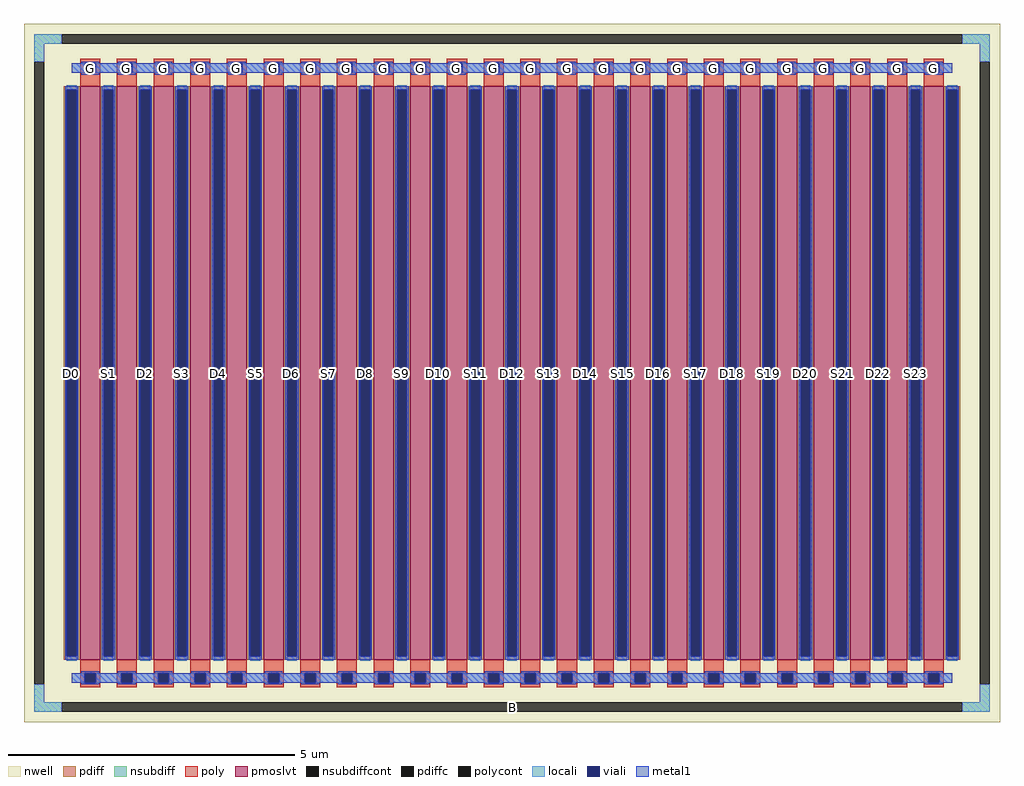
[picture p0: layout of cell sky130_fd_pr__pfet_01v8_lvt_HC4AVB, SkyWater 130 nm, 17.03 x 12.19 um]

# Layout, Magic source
magic
tech sky130A
magscale 1 2
<< nwell >>
rect -1703 -1219 1703 1219
<< pmoslvt >>
rect -1507 -1000 -1437 1000
rect -1379 -1000 -1309 1000
rect -1251 -1000 -1181 1000
rect -1123 -1000 -1053 1000
rect -995 -1000 -925 1000
rect -867 -1000 -797 1000
rect -739 -1000 -669 1000
rect -611 -1000 -541 1000
rect -483 -1000 -413 1000
rect -355 -1000 -285 1000
rect -227 -1000 -157 1000
rect -99 -1000 -29 1000
rect 29 -1000 99 1000
rect 157 -1000 227 1000
rect 285 -1000 355 1000
rect 413 -1000 483 1000
rect 541 -1000 611 1000
rect 669 -1000 739 1000
rect 797 -1000 867 1000
rect 925 -1000 995 1000
rect 1053 -1000 1123 1000
rect 1181 -1000 1251 1000
rect 1309 -1000 1379 1000
rect 1437 -1000 1507 1000
<< pdiff >>
rect -1565 988 -1507 1000
rect -1565 -988 -1553 988
rect -1519 -988 -1507 988
rect -1565 -1000 -1507 -988
rect -1437 988 -1379 1000
rect -1437 -988 -1425 988
rect -1391 -988 -1379 988
rect -1437 -1000 -1379 -988
rect -1309 988 -1251 1000
rect -1309 -988 -1297 988
rect -1263 -988 -1251 988
rect -1309 -1000 -1251 -988
rect -1181 988 -1123 1000
rect -1181 -988 -1169 988
rect -1135 -988 -1123 988
rect -1181 -1000 -1123 -988
rect -1053 988 -995 1000
rect -1053 -988 -1041 988
rect -1007 -988 -995 988
rect -1053 -1000 -995 -988
rect -925 988 -867 1000
rect -925 -988 -913 988
rect -879 -988 -867 988
rect -925 -1000 -867 -988
rect -797 988 -739 1000
rect -797 -988 -785 988
rect -751 -988 -739 988
rect -797 -1000 -739 -988
rect -669 988 -611 1000
rect -669 -988 -657 988
rect -623 -988 -611 988
rect -669 -1000 -611 -988
rect -541 988 -483 1000
rect -541 -988 -529 988
rect -495 -988 -483 988
rect -541 -1000 -483 -988
rect -413 988 -355 1000
rect -413 -988 -401 988
rect -367 -988 -355 988
rect -413 -1000 -355 -988
rect -285 988 -227 1000
rect -285 -988 -273 988
rect -239 -988 -227 988
rect -285 -1000 -227 -988
rect -157 988 -99 1000
rect -157 -988 -145 988
rect -111 -988 -99 988
rect -157 -1000 -99 -988
rect -29 988 29 1000
rect -29 -988 -17 988
rect 17 -988 29 988
rect -29 -1000 29 -988
rect 99 988 157 1000
rect 99 -988 111 988
rect 145 -988 157 988
rect 99 -1000 157 -988
rect 227 988 285 1000
rect 227 -988 239 988
rect 273 -988 285 988
rect 227 -1000 285 -988
rect 355 988 413 1000
rect 355 -988 367 988
rect 401 -988 413 988
rect 355 -1000 413 -988
rect 483 988 541 1000
rect 483 -988 495 988
rect 529 -988 541 988
rect 483 -1000 541 -988
rect 611 988 669 1000
rect 611 -988 623 988
rect 657 -988 669 988
rect 611 -1000 669 -988
rect 739 988 797 1000
rect 739 -988 751 988
rect 785 -988 797 988
rect 739 -1000 797 -988
rect 867 988 925 1000
rect 867 -988 879 988
rect 913 -988 925 988
rect 867 -1000 925 -988
rect 995 988 1053 1000
rect 995 -988 1007 988
rect 1041 -988 1053 988
rect 995 -1000 1053 -988
rect 1123 988 1181 1000
rect 1123 -988 1135 988
rect 1169 -988 1181 988
rect 1123 -1000 1181 -988
rect 1251 988 1309 1000
rect 1251 -988 1263 988
rect 1297 -988 1309 988
rect 1251 -1000 1309 -988
rect 1379 988 1437 1000
rect 1379 -988 1391 988
rect 1425 -988 1437 988
rect 1379 -1000 1437 -988
rect 1507 988 1565 1000
rect 1507 -988 1519 988
rect 1553 -988 1565 988
rect 1507 -1000 1565 -988
<< pdiffc >>
rect -1553 -988 -1519 988
rect -1425 -988 -1391 988
rect -1297 -988 -1263 988
rect -1169 -988 -1135 988
rect -1041 -988 -1007 988
rect -913 -988 -879 988
rect -785 -988 -751 988
rect -657 -988 -623 988
rect -529 -988 -495 988
rect -401 -988 -367 988
rect -273 -988 -239 988
rect -145 -988 -111 988
rect -17 -988 17 988
rect 111 -988 145 988
rect 239 -988 273 988
rect 367 -988 401 988
rect 495 -988 529 988
rect 623 -988 657 988
rect 751 -988 785 988
rect 879 -988 913 988
rect 1007 -988 1041 988
rect 1135 -988 1169 988
rect 1263 -988 1297 988
rect 1391 -988 1425 988
rect 1519 -988 1553 988
<< nsubdiff >>
rect -1667 1149 -1571 1183
rect 1571 1149 1667 1183
rect -1667 1087 -1633 1149
rect 1633 1087 1667 1149
rect -1667 -1149 -1633 -1087
rect 1633 -1149 1667 -1087
rect -1667 -1183 -1571 -1149
rect 1571 -1183 1667 -1149
<< nsubdiffcont >>
rect -1571 1149 1571 1183
rect -1667 -1087 -1633 1087
rect 1633 -1087 1667 1087
rect -1571 -1183 1571 -1149
<< poly >>
rect -1507 1081 -1437 1097
rect -1507 1047 -1491 1081
rect -1453 1047 -1437 1081
rect -1507 1000 -1437 1047
rect -1379 1081 -1309 1097
rect -1379 1047 -1363 1081
rect -1325 1047 -1309 1081
rect -1379 1000 -1309 1047
rect -1251 1081 -1181 1097
rect -1251 1047 -1235 1081
rect -1197 1047 -1181 1081
rect -1251 1000 -1181 1047
rect -1123 1081 -1053 1097
rect -1123 1047 -1107 1081
rect -1069 1047 -1053 1081
rect -1123 1000 -1053 1047
rect -995 1081 -925 1097
rect -995 1047 -979 1081
rect -941 1047 -925 1081
rect -995 1000 -925 1047
rect -867 1081 -797 1097
rect -867 1047 -851 1081
rect -813 1047 -797 1081
rect -867 1000 -797 1047
rect -739 1081 -669 1097
rect -739 1047 -723 1081
rect -685 1047 -669 1081
rect -739 1000 -669 1047
rect -611 1081 -541 1097
rect -611 1047 -595 1081
rect -557 1047 -541 1081
rect -611 1000 -541 1047
rect -483 1081 -413 1097
rect -483 1047 -467 1081
rect -429 1047 -413 1081
rect -483 1000 -413 1047
rect -355 1081 -285 1097
rect -355 1047 -339 1081
rect -301 1047 -285 1081
rect -355 1000 -285 1047
rect -227 1081 -157 1097
rect -227 1047 -211 1081
rect -173 1047 -157 1081
rect -227 1000 -157 1047
rect -99 1081 -29 1097
rect -99 1047 -83 1081
rect -45 1047 -29 1081
rect -99 1000 -29 1047
rect 29 1081 99 1097
rect 29 1047 45 1081
rect 83 1047 99 1081
rect 29 1000 99 1047
rect 157 1081 227 1097
rect 157 1047 173 1081
rect 211 1047 227 1081
rect 157 1000 227 1047
rect 285 1081 355 1097
rect 285 1047 301 1081
rect 339 1047 355 1081
rect 285 1000 355 1047
rect 413 1081 483 1097
rect 413 1047 429 1081
rect 467 1047 483 1081
rect 413 1000 483 1047
rect 541 1081 611 1097
rect 541 1047 557 1081
rect 595 1047 611 1081
rect 541 1000 611 1047
rect 669 1081 739 1097
rect 669 1047 685 1081
rect 723 1047 739 1081
rect 669 1000 739 1047
rect 797 1081 867 1097
rect 797 1047 813 1081
rect 851 1047 867 1081
rect 797 1000 867 1047
rect 925 1081 995 1097
rect 925 1047 941 1081
rect 979 1047 995 1081
rect 925 1000 995 1047
rect 1053 1081 1123 1097
rect 1053 1047 1069 1081
rect 1107 1047 1123 1081
rect 1053 1000 1123 1047
rect 1181 1081 1251 1097
rect 1181 1047 1197 1081
rect 1235 1047 1251 1081
rect 1181 1000 1251 1047
rect 1309 1081 1379 1097
rect 1309 1047 1325 1081
rect 1363 1047 1379 1081
rect 1309 1000 1379 1047
rect 1437 1081 1507 1097
rect 1437 1047 1453 1081
rect 1491 1047 1507 1081
rect 1437 1000 1507 1047
rect -1507 -1047 -1437 -1000
rect -1507 -1081 -1491 -1047
rect -1453 -1081 -1437 -1047
rect -1507 -1097 -1437 -1081
rect -1379 -1047 -1309 -1000
rect -1379 -1081 -1363 -1047
rect -1325 -1081 -1309 -1047
rect -1379 -1097 -1309 -1081
rect -1251 -1047 -1181 -1000
rect -1251 -1081 -1235 -1047
rect -1197 -1081 -1181 -1047
rect -1251 -1097 -1181 -1081
rect -1123 -1047 -1053 -1000
rect -1123 -1081 -1107 -1047
rect -1069 -1081 -1053 -1047
rect -1123 -1097 -1053 -1081
rect -995 -1047 -925 -1000
rect -995 -1081 -979 -1047
rect -941 -1081 -925 -1047
rect -995 -1097 -925 -1081
rect -867 -1047 -797 -1000
rect -867 -1081 -851 -1047
rect -813 -1081 -797 -1047
rect -867 -1097 -797 -1081
rect -739 -1047 -669 -1000
rect -739 -1081 -723 -1047
rect -685 -1081 -669 -1047
rect -739 -1097 -669 -1081
rect -611 -1047 -541 -1000
rect -611 -1081 -595 -1047
rect -557 -1081 -541 -1047
rect -611 -1097 -541 -1081
rect -483 -1047 -413 -1000
rect -483 -1081 -467 -1047
rect -429 -1081 -413 -1047
rect -483 -1097 -413 -1081
rect -355 -1047 -285 -1000
rect -355 -1081 -339 -1047
rect -301 -1081 -285 -1047
rect -355 -1097 -285 -1081
rect -227 -1047 -157 -1000
rect -227 -1081 -211 -1047
rect -173 -1081 -157 -1047
rect -227 -1097 -157 -1081
rect -99 -1047 -29 -1000
rect -99 -1081 -83 -1047
rect -45 -1081 -29 -1047
rect -99 -1097 -29 -1081
rect 29 -1047 99 -1000
rect 29 -1081 45 -1047
rect 83 -1081 99 -1047
rect 29 -1097 99 -1081
rect 157 -1047 227 -1000
rect 157 -1081 173 -1047
rect 211 -1081 227 -1047
rect 157 -1097 227 -1081
rect 285 -1047 355 -1000
rect 285 -1081 301 -1047
rect 339 -1081 355 -1047
rect 285 -1097 355 -1081
rect 413 -1047 483 -1000
rect 413 -1081 429 -1047
rect 467 -1081 483 -1047
rect 413 -1097 483 -1081
rect 541 -1047 611 -1000
rect 541 -1081 557 -1047
rect 595 -1081 611 -1047
rect 541 -1097 611 -1081
rect 669 -1047 739 -1000
rect 669 -1081 685 -1047
rect 723 -1081 739 -1047
rect 669 -1097 739 -1081
rect 797 -1047 867 -1000
rect 797 -1081 813 -1047
rect 851 -1081 867 -1047
rect 797 -1097 867 -1081
rect 925 -1047 995 -1000
rect 925 -1081 941 -1047
rect 979 -1081 995 -1047
rect 925 -1097 995 -1081
rect 1053 -1047 1123 -1000
rect 1053 -1081 1069 -1047
rect 1107 -1081 1123 -1047
rect 1053 -1097 1123 -1081
rect 1181 -1047 1251 -1000
rect 1181 -1081 1197 -1047
rect 1235 -1081 1251 -1047
rect 1181 -1097 1251 -1081
rect 1309 -1047 1379 -1000
rect 1309 -1081 1325 -1047
rect 1363 -1081 1379 -1047
rect 1309 -1097 1379 -1081
rect 1437 -1047 1507 -1000
rect 1437 -1081 1453 -1047
rect 1491 -1081 1507 -1047
rect 1437 -1097 1507 -1081
<< polycont >>
rect -1491 1047 -1453 1081
rect -1363 1047 -1325 1081
rect -1235 1047 -1197 1081
rect -1107 1047 -1069 1081
rect -979 1047 -941 1081
rect -851 1047 -813 1081
rect -723 1047 -685 1081
rect -595 1047 -557 1081
rect -467 1047 -429 1081
rect -339 1047 -301 1081
rect -211 1047 -173 1081
rect -83 1047 -45 1081
rect 45 1047 83 1081
rect 173 1047 211 1081
rect 301 1047 339 1081
rect 429 1047 467 1081
rect 557 1047 595 1081
rect 685 1047 723 1081
rect 813 1047 851 1081
rect 941 1047 979 1081
rect 1069 1047 1107 1081
rect 1197 1047 1235 1081
rect 1325 1047 1363 1081
rect 1453 1047 1491 1081
rect -1491 -1081 -1453 -1047
rect -1363 -1081 -1325 -1047
rect -1235 -1081 -1197 -1047
rect -1107 -1081 -1069 -1047
rect -979 -1081 -941 -1047
rect -851 -1081 -813 -1047
rect -723 -1081 -685 -1047
rect -595 -1081 -557 -1047
rect -467 -1081 -429 -1047
rect -339 -1081 -301 -1047
rect -211 -1081 -173 -1047
rect -83 -1081 -45 -1047
rect 45 -1081 83 -1047
rect 173 -1081 211 -1047
rect 301 -1081 339 -1047
rect 429 -1081 467 -1047
rect 557 -1081 595 -1047
rect 685 -1081 723 -1047
rect 813 -1081 851 -1047
rect 941 -1081 979 -1047
rect 1069 -1081 1107 -1047
rect 1197 -1081 1235 -1047
rect 1325 -1081 1363 -1047
rect 1453 -1081 1491 -1047
<< locali >>
rect -1667 1149 -1571 1183
rect 1571 1149 1667 1183
rect -1667 1087 -1633 1149
rect 1633 1087 1667 1149
rect -1536 1047 -1491 1081
rect -1453 1047 -1363 1081
rect -1325 1047 -1235 1081
rect -1197 1047 -1107 1081
rect -1069 1047 -979 1081
rect -941 1047 -851 1081
rect -813 1047 -723 1081
rect -685 1047 -595 1081
rect -557 1047 -467 1081
rect -429 1047 -339 1081
rect -301 1047 -211 1081
rect -173 1047 -83 1081
rect -45 1047 45 1081
rect 83 1047 173 1081
rect 211 1047 301 1081
rect 339 1047 429 1081
rect 467 1047 557 1081
rect 595 1047 685 1081
rect 723 1047 813 1081
rect 851 1047 941 1081
rect 979 1047 1069 1081
rect 1107 1047 1197 1081
rect 1235 1047 1325 1081
rect 1363 1047 1453 1081
rect 1491 1047 1536 1081
rect -1553 988 -1519 1004
rect -1553 -1004 -1519 -988
rect -1425 988 -1391 1004
rect -1425 -1004 -1391 -988
rect -1297 988 -1263 1004
rect -1297 -1004 -1263 -988
rect -1169 988 -1135 1004
rect -1169 -1004 -1135 -988
rect -1041 988 -1007 1004
rect -1041 -1004 -1007 -988
rect -913 988 -879 1004
rect -913 -1004 -879 -988
rect -785 988 -751 1004
rect -785 -1004 -751 -988
rect -657 988 -623 1004
rect -657 -1004 -623 -988
rect -529 988 -495 1004
rect -529 -1004 -495 -988
rect -401 988 -367 1004
rect -401 -1004 -367 -988
rect -273 988 -239 1004
rect -273 -1004 -239 -988
rect -145 988 -111 1004
rect -145 -1004 -111 -988
rect -17 988 17 1004
rect -17 -1004 17 -988
rect 111 988 145 1004
rect 111 -1004 145 -988
rect 239 988 273 1004
rect 239 -1004 273 -988
rect 367 988 401 1004
rect 367 -1004 401 -988
rect 495 988 529 1004
rect 495 -1004 529 -988
rect 623 988 657 1004
rect 623 -1004 657 -988
rect 751 988 785 1004
rect 751 -1004 785 -988
rect 879 988 913 1004
rect 879 -1004 913 -988
rect 1007 988 1041 1004
rect 1007 -1004 1041 -988
rect 1135 988 1169 1004
rect 1135 -1004 1169 -988
rect 1263 988 1297 1004
rect 1263 -1004 1297 -988
rect 1391 988 1425 1004
rect 1391 -1004 1425 -988
rect 1519 988 1553 1004
rect 1519 -1004 1553 -988
rect -1536 -1081 -1491 -1047
rect -1453 -1081 -1363 -1047
rect -1325 -1081 -1235 -1047
rect -1197 -1081 -1107 -1047
rect -1069 -1081 -979 -1047
rect -941 -1081 -851 -1047
rect -813 -1081 -723 -1047
rect -685 -1081 -595 -1047
rect -557 -1081 -467 -1047
rect -429 -1081 -339 -1047
rect -301 -1081 -211 -1047
rect -173 -1081 -83 -1047
rect -45 -1081 45 -1047
rect 83 -1081 173 -1047
rect 211 -1081 301 -1047
rect 339 -1081 429 -1047
rect 467 -1081 557 -1047
rect 595 -1081 685 -1047
rect 723 -1081 813 -1047
rect 851 -1081 941 -1047
rect 979 -1081 1069 -1047
rect 1107 -1081 1197 -1047
rect 1235 -1081 1325 -1047
rect 1363 -1081 1453 -1047
rect 1491 -1081 1536 -1047
rect -1667 -1149 -1633 -1087
rect 1633 -1149 1667 -1087
rect -1667 -1183 -1571 -1149
rect 1571 -1183 1667 -1149
<< viali >>
rect -1491 1047 -1453 1081
rect -1363 1047 -1325 1081
rect -1235 1047 -1197 1081
rect -1107 1047 -1069 1081
rect -979 1047 -941 1081
rect -851 1047 -813 1081
rect -723 1047 -685 1081
rect -595 1047 -557 1081
rect -467 1047 -429 1081
rect -339 1047 -301 1081
rect -211 1047 -173 1081
rect -83 1047 -45 1081
rect 45 1047 83 1081
rect 173 1047 211 1081
rect 301 1047 339 1081
rect 429 1047 467 1081
rect 557 1047 595 1081
rect 685 1047 723 1081
rect 813 1047 851 1081
rect 941 1047 979 1081
rect 1069 1047 1107 1081
rect 1197 1047 1235 1081
rect 1325 1047 1363 1081
rect 1453 1047 1491 1081
rect -1553 -988 -1519 988
rect -1425 -988 -1391 988
rect -1297 -988 -1263 988
rect -1169 -988 -1135 988
rect -1041 -988 -1007 988
rect -913 -988 -879 988
rect -785 -988 -751 988
rect -657 -988 -623 988
rect -529 -988 -495 988
rect -401 -988 -367 988
rect -273 -988 -239 988
rect -145 -988 -111 988
rect -17 -988 17 988
rect 111 -988 145 988
rect 239 -988 273 988
rect 367 -988 401 988
rect 495 -988 529 988
rect 623 -988 657 988
rect 751 -988 785 988
rect 879 -988 913 988
rect 1007 -988 1041 988
rect 1135 -988 1169 988
rect 1263 -988 1297 988
rect 1391 -988 1425 988
rect 1519 -988 1553 988
rect -1491 -1081 -1453 -1047
rect -1363 -1081 -1325 -1047
rect -1235 -1081 -1197 -1047
rect -1107 -1081 -1069 -1047
rect -979 -1081 -941 -1047
rect -851 -1081 -813 -1047
rect -723 -1081 -685 -1047
rect -595 -1081 -557 -1047
rect -467 -1081 -429 -1047
rect -339 -1081 -301 -1047
rect -211 -1081 -173 -1047
rect -83 -1081 -45 -1047
rect 45 -1081 83 -1047
rect 173 -1081 211 -1047
rect 301 -1081 339 -1047
rect 429 -1081 467 -1047
rect 557 -1081 595 -1047
rect 685 -1081 723 -1047
rect 813 -1081 851 -1047
rect 941 -1081 979 -1047
rect 1069 -1081 1107 -1047
rect 1197 -1081 1235 -1047
rect 1325 -1081 1363 -1047
rect 1453 -1081 1491 -1047
<< metal1 >>
rect -1503 1081 -1441 1087
rect -1375 1081 -1313 1087
rect -1247 1081 -1185 1087
rect -1119 1081 -1057 1087
rect -991 1081 -929 1087
rect -863 1081 -801 1087
rect -735 1081 -673 1087
rect -607 1081 -545 1087
rect -479 1081 -417 1087
rect -351 1081 -289 1087
rect -223 1081 -161 1087
rect -95 1081 -33 1087
rect 33 1081 95 1087
rect 161 1081 223 1087
rect 289 1081 351 1087
rect 417 1081 479 1087
rect 545 1081 607 1087
rect 673 1081 735 1087
rect 801 1081 863 1087
rect 929 1081 991 1087
rect 1057 1081 1119 1087
rect 1185 1081 1247 1087
rect 1313 1081 1375 1087
rect 1441 1081 1503 1087
rect -1536 1047 -1491 1081
rect -1453 1047 -1363 1081
rect -1325 1047 -1235 1081
rect -1197 1047 -1107 1081
rect -1069 1047 -979 1081
rect -941 1047 -851 1081
rect -813 1047 -723 1081
rect -685 1047 -595 1081
rect -557 1047 -467 1081
rect -429 1047 -339 1081
rect -301 1047 -211 1081
rect -173 1047 -83 1081
rect -45 1047 45 1081
rect 83 1047 173 1081
rect 211 1047 301 1081
rect 339 1047 429 1081
rect 467 1047 557 1081
rect 595 1047 685 1081
rect 723 1047 813 1081
rect 851 1047 941 1081
rect 979 1047 1069 1081
rect 1107 1047 1197 1081
rect 1235 1047 1325 1081
rect 1363 1047 1453 1081
rect 1491 1047 1536 1081
rect -1503 1041 -1441 1047
rect -1375 1041 -1313 1047
rect -1247 1041 -1185 1047
rect -1119 1041 -1057 1047
rect -991 1041 -929 1047
rect -863 1041 -801 1047
rect -735 1041 -673 1047
rect -607 1041 -545 1047
rect -479 1041 -417 1047
rect -351 1041 -289 1047
rect -223 1041 -161 1047
rect -95 1041 -33 1047
rect 33 1041 95 1047
rect 161 1041 223 1047
rect 289 1041 351 1047
rect 417 1041 479 1047
rect 545 1041 607 1047
rect 673 1041 735 1047
rect 801 1041 863 1047
rect 929 1041 991 1047
rect 1057 1041 1119 1047
rect 1185 1041 1247 1047
rect 1313 1041 1375 1047
rect 1441 1041 1503 1047
rect -1559 988 -1513 1000
rect -1559 -988 -1553 988
rect -1519 -988 -1513 988
rect -1559 -1000 -1513 -988
rect -1431 988 -1385 1000
rect -1431 -988 -1425 988
rect -1391 -988 -1385 988
rect -1431 -1000 -1385 -988
rect -1303 988 -1257 1000
rect -1303 -988 -1297 988
rect -1263 -988 -1257 988
rect -1303 -1000 -1257 -988
rect -1175 988 -1129 1000
rect -1175 -988 -1169 988
rect -1135 -988 -1129 988
rect -1175 -1000 -1129 -988
rect -1047 988 -1001 1000
rect -1047 -988 -1041 988
rect -1007 -988 -1001 988
rect -1047 -1000 -1001 -988
rect -919 988 -873 1000
rect -919 -988 -913 988
rect -879 -988 -873 988
rect -919 -1000 -873 -988
rect -791 988 -745 1000
rect -791 -988 -785 988
rect -751 -988 -745 988
rect -791 -1000 -745 -988
rect -663 988 -617 1000
rect -663 -988 -657 988
rect -623 -988 -617 988
rect -663 -1000 -617 -988
rect -535 988 -489 1000
rect -535 -988 -529 988
rect -495 -988 -489 988
rect -535 -1000 -489 -988
rect -407 988 -361 1000
rect -407 -988 -401 988
rect -367 -988 -361 988
rect -407 -1000 -361 -988
rect -279 988 -233 1000
rect -279 -988 -273 988
rect -239 -988 -233 988
rect -279 -1000 -233 -988
rect -151 988 -105 1000
rect -151 -988 -145 988
rect -111 -988 -105 988
rect -151 -1000 -105 -988
rect -23 988 23 1000
rect -23 -988 -17 988
rect 17 -988 23 988
rect -23 -1000 23 -988
rect 105 988 151 1000
rect 105 -988 111 988
rect 145 -988 151 988
rect 105 -1000 151 -988
rect 233 988 279 1000
rect 233 -988 239 988
rect 273 -988 279 988
rect 233 -1000 279 -988
rect 361 988 407 1000
rect 361 -988 367 988
rect 401 -988 407 988
rect 361 -1000 407 -988
rect 489 988 535 1000
rect 489 -988 495 988
rect 529 -988 535 988
rect 489 -1000 535 -988
rect 617 988 663 1000
rect 617 -988 623 988
rect 657 -988 663 988
rect 617 -1000 663 -988
rect 745 988 791 1000
rect 745 -988 751 988
rect 785 -988 791 988
rect 745 -1000 791 -988
rect 873 988 919 1000
rect 873 -988 879 988
rect 913 -988 919 988
rect 873 -1000 919 -988
rect 1001 988 1047 1000
rect 1001 -988 1007 988
rect 1041 -988 1047 988
rect 1001 -1000 1047 -988
rect 1129 988 1175 1000
rect 1129 -988 1135 988
rect 1169 -988 1175 988
rect 1129 -1000 1175 -988
rect 1257 988 1303 1000
rect 1257 -988 1263 988
rect 1297 -988 1303 988
rect 1257 -1000 1303 -988
rect 1385 988 1431 1000
rect 1385 -988 1391 988
rect 1425 -988 1431 988
rect 1385 -1000 1431 -988
rect 1513 988 1559 1000
rect 1513 -988 1519 988
rect 1553 -988 1559 988
rect 1513 -1000 1559 -988
rect -1503 -1047 -1441 -1041
rect -1375 -1047 -1313 -1041
rect -1247 -1047 -1185 -1041
rect -1119 -1047 -1057 -1041
rect -991 -1047 -929 -1041
rect -863 -1047 -801 -1041
rect -735 -1047 -673 -1041
rect -607 -1047 -545 -1041
rect -479 -1047 -417 -1041
rect -351 -1047 -289 -1041
rect -223 -1047 -161 -1041
rect -95 -1047 -33 -1041
rect 33 -1047 95 -1041
rect 161 -1047 223 -1041
rect 289 -1047 351 -1041
rect 417 -1047 479 -1041
rect 545 -1047 607 -1041
rect 673 -1047 735 -1041
rect 801 -1047 863 -1041
rect 929 -1047 991 -1041
rect 1057 -1047 1119 -1041
rect 1185 -1047 1247 -1041
rect 1313 -1047 1375 -1041
rect 1441 -1047 1503 -1041
rect -1536 -1081 -1491 -1047
rect -1453 -1081 -1363 -1047
rect -1325 -1081 -1235 -1047
rect -1197 -1081 -1107 -1047
rect -1069 -1081 -979 -1047
rect -941 -1081 -851 -1047
rect -813 -1081 -723 -1047
rect -685 -1081 -595 -1047
rect -557 -1081 -467 -1047
rect -429 -1081 -339 -1047
rect -301 -1081 -211 -1047
rect -173 -1081 -83 -1047
rect -45 -1081 45 -1047
rect 83 -1081 173 -1047
rect 211 -1081 301 -1047
rect 339 -1081 429 -1047
rect 467 -1081 557 -1047
rect 595 -1081 685 -1047
rect 723 -1081 813 -1047
rect 851 -1081 941 -1047
rect 979 -1081 1069 -1047
rect 1107 -1081 1197 -1047
rect 1235 -1081 1325 -1047
rect 1363 -1081 1453 -1047
rect 1491 -1081 1536 -1047
rect -1503 -1087 -1441 -1081
rect -1375 -1087 -1313 -1081
rect -1247 -1087 -1185 -1081
rect -1119 -1087 -1057 -1081
rect -991 -1087 -929 -1081
rect -863 -1087 -801 -1081
rect -735 -1087 -673 -1081
rect -607 -1087 -545 -1081
rect -479 -1087 -417 -1081
rect -351 -1087 -289 -1081
rect -223 -1087 -161 -1081
rect -95 -1087 -33 -1081
rect 33 -1087 95 -1081
rect 161 -1087 223 -1081
rect 289 -1087 351 -1081
rect 417 -1087 479 -1081
rect 545 -1087 607 -1081
rect 673 -1087 735 -1081
rect 801 -1087 863 -1081
rect 929 -1087 991 -1081
rect 1057 -1087 1119 -1081
rect 1185 -1087 1247 -1081
rect 1313 -1087 1375 -1081
rect 1441 -1087 1503 -1081
<< labels >>
rlabel nsubdiffcont 0 -1166 0 -1166 0 B
port 1 nsew
rlabel pdiffc -1536 0 -1536 0 0 D0
port 2 nsew
rlabel polycont -1472 1064 -1472 1064 0 G
port 3 nsew
rlabel pdiffc -1408 0 -1408 0 0 S1
port 4 nsew
rlabel polycont -1344 1064 -1344 1064 0 G
port 3 nsew
rlabel pdiffc -1280 0 -1280 0 0 D2
port 5 nsew
rlabel polycont -1216 1064 -1216 1064 0 G
port 3 nsew
rlabel pdiffc -1152 0 -1152 0 0 S3
port 6 nsew
rlabel polycont -1088 1064 -1088 1064 0 G
port 3 nsew
rlabel pdiffc -1024 0 -1024 0 0 D4
port 7 nsew
rlabel polycont -960 1064 -960 1064 0 G
port 3 nsew
rlabel pdiffc -896 0 -896 0 0 S5
port 8 nsew
rlabel polycont -832 1064 -832 1064 0 G
port 3 nsew
rlabel pdiffc -768 0 -768 0 0 D6
port 9 nsew
rlabel polycont -704 1064 -704 1064 0 G
port 3 nsew
rlabel pdiffc -640 0 -640 0 0 S7
port 10 nsew
rlabel polycont -576 1064 -576 1064 0 G
port 3 nsew
rlabel pdiffc -512 0 -512 0 0 D8
port 11 nsew
rlabel polycont -448 1064 -448 1064 0 G
port 3 nsew
rlabel pdiffc -384 0 -384 0 0 S9
port 12 nsew
rlabel polycont -320 1064 -320 1064 0 G
port 3 nsew
rlabel pdiffc -256 0 -256 0 0 D10
port 13 nsew
rlabel polycont -192 1064 -192 1064 0 G
port 3 nsew
rlabel pdiffc -128 0 -128 0 0 S11
port 14 nsew
rlabel polycont -64 1064 -64 1064 0 G
port 3 nsew
rlabel pdiffc 0 0 0 0 0 D12
port 15 nsew
rlabel polycont 64 1064 64 1064 0 G
port 3 nsew
rlabel pdiffc 128 0 128 0 0 S13
port 16 nsew
rlabel polycont 192 1064 192 1064 0 G
port 3 nsew
rlabel pdiffc 256 0 256 0 0 D14
port 17 nsew
rlabel polycont 320 1064 320 1064 0 G
port 3 nsew
rlabel pdiffc 384 0 384 0 0 S15
port 18 nsew
rlabel polycont 448 1064 448 1064 0 G
port 3 nsew
rlabel pdiffc 512 0 512 0 0 D16
port 19 nsew
rlabel polycont 576 1064 576 1064 0 G
port 3 nsew
rlabel pdiffc 640 0 640 0 0 S17
port 20 nsew
rlabel polycont 704 1064 704 1064 0 G
port 3 nsew
rlabel pdiffc 768 0 768 0 0 D18
port 21 nsew
rlabel polycont 832 1064 832 1064 0 G
port 3 nsew
rlabel pdiffc 896 0 896 0 0 S19
port 22 nsew
rlabel polycont 960 1064 960 1064 0 G
port 3 nsew
rlabel pdiffc 1024 0 1024 0 0 D20
port 23 nsew
rlabel polycont 1088 1064 1088 1064 0 G
port 3 nsew
rlabel pdiffc 1152 0 1152 0 0 S21
port 24 nsew
rlabel polycont 1216 1064 1216 1064 0 G
port 3 nsew
rlabel pdiffc 1280 0 1280 0 0 D22
port 25 nsew
rlabel polycont 1344 1064 1344 1064 0 G
port 3 nsew
rlabel pdiffc 1408 0 1408 0 0 S23
port 26 nsew
rlabel polycont 1472 1064 1472 1064 0 G
port 3 nsew
<< properties >>
string FIXED_BBOX -1650 -1166 1650 1166
string gencell sky130_fd_pr__pfet_01v8_lvt
string library sky130
string parameters w 10 l 0.35 m 1 nf 24 diffcov 100 polycov 100 guard 1 glc 1 grc 1 gtc 1 gbc 1 tbcov 100 rlcov 100 topc 1 botc 1 poverlap 0 doverlap 1 lmin 0.35 wmin 0.42 class mosfet compatible {sky130_fd_pr__pfet_01v8  sky130_fd_pr__pfet_01v8_lvt sky130_fd_pr__pfet_01v8_hvt  sky130_fd_pr__pfet_g5v0d10v5} full_metal 1 conn_gates 1 viasrc 100 viadrn 100 viagate 100 viagb 0 viagr 0 viagl 0 viagt 0 doports 1
<< end >>
